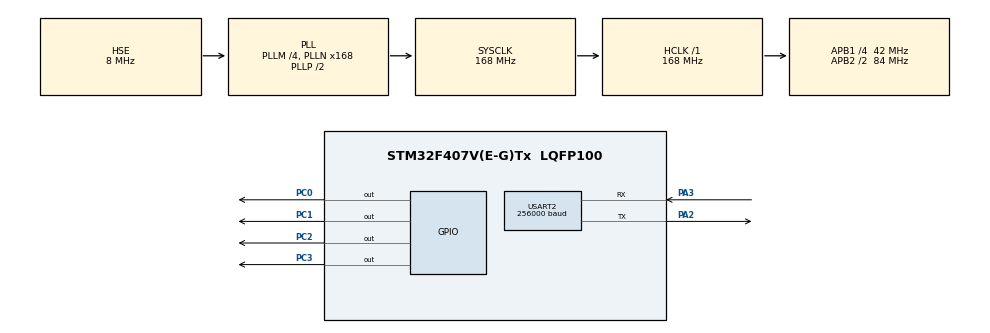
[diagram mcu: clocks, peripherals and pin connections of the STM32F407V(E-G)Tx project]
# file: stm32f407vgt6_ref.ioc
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Mcu.Family=STM32F4
Mcu.Name=STM32F407V(E-G)Tx
Mcu.Package=LQFP100
NVIC.PriorityGroup=NVIC_PRIORITYGROUP_4
PA2.Mode=Asynchronous
PA2.Signal=USART2_TX
PA3.Mode=Asynchronous
PA3.Signal=USART2_RX
PC0.Signal=GPIO_Output
PC1.Signal=GPIO_Output
PC2.Signal=GPIO_Output
PC3.Signal=GPIO_Output
PH0-OSC_IN.Mode=HSE-External-Oscillator
PH0-OSC_IN.Signal=RCC_OSC_IN
PH1-OSC_OUT.Mode=HSE-External-Oscillator
PH1-OSC_OUT.Signal=RCC_OSC_OUT
ProjectManager.HeapSize=0x4000
ProjectManager.StackSize=0x4000
ProjectManager.TargetToolchain=STM32CubeIDE
RCC.48MHZClocksFreq_Value=84000000
RCC.AHBFreq_Value=168000000
RCC.APB1CLKDivider=RCC_HCLK_DIV4
RCC.APB1Freq_Value=42000000
RCC.APB1TimFreq_Value=84000000
RCC.APB2CLKDivider=RCC_HCLK_DIV2
RCC.APB2Freq_Value=84000000
RCC.APB2TimFreq_Value=168000000
RCC.CortexFreq_Value=168000000
RCC.HCLKFreq_Value=168000000
RCC.HSE_VALUE=8000000
RCC.HSI_VALUE=16000000
RCC.LSE_VALUE=32768
RCC.PLLM=4
RCC.PLLN=168
RCC.PLLSourceVirtual=RCC_PLLSOURCE_HSE
RCC.SYSCLKFreq_VALUE=168000000
RCC.SYSCLKSource=RCC_SYSCLKSOURCE_PLLCLK
RCC.VCOOutputFreq_Value=336000000
USART2.BaudRate=256000
USART2.VirtualMode=VM_ASYNC
board=custom

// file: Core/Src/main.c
/* USER CODE BEGIN Header */
/**
  ******************************************************************************
  * @file           : main.c
  * @brief          : Main program body
  ******************************************************************************
  * @attention
  *
  * Copyright (c) 2025 STMicroelectronics.
  * All rights reserved.
  *
  * This software is licensed under terms that can be found in the LICENSE file
  * in the root directory of this software component.
  * If no LICENSE file comes with this software, it is provided AS-IS.
  *
  ******************************************************************************
  */
/* USER CODE END Header */
#include "main.h"
#include "usart.h"
#include "gpio.h"

/* USER CODE BEGIN Includes */
#include "rng.h"
#include "api.h"
#include <string.h>
/* USER CODE END Includes */

/* USER CODE BEGIN PV */
size_t mlen=0, smlen=0, mlen2=0;
uint8_t m[1024], m2[1024];
uint8_t sm[1024+PQCLEAN_MLDSA44_CLEAN_CRYPTO_BYTES];
uint8_t pk[PQCLEAN_MLDSA44_CLEAN_CRYPTO_PUBLICKEYBYTES];
uint8_t sk[PQCLEAN_MLDSA44_CLEAN_CRYPTO_SECRETKEYBYTES];
unsigned int seed = 0x12345678;
char done_flag[5] = "done\n";
int rej_num = 0;
int trigger_idx = 0;
int poly_idx = 0;
unsigned char tmp[4];
/* USER CODE END PV */

void SystemClock_Config(void);
/* USER CODE BEGIN PFP */
void cal_sign_rej_num(){
	randombytes_init(seed);
	for(int i=0;i<100;++i)
		randombytes(tmp,4);
	rej_num = 0;
	mlen = 0;
	randombytes(&mlen,4);
	mlen &= 0xff;
	randombytes(m,mlen);
	HAL_GPIO_WritePin(GPIOC, GPIO_PIN_0, GPIO_PIN_RESET);
	PQCLEAN_MLDSA44_CLEAN_crypto_sign(sm, &smlen, m, mlen, sk, -2, -2, &rej_num);
	HAL_GPIO_WritePin(GPIOC, GPIO_PIN_0, GPIO_PIN_SET);
}

void sign(){
	randombytes_init(seed);
	for(int i=0;i<100;++i)
		randombytes(tmp,4);
	mlen = 0;
	randombytes(&mlen,4);
	mlen &= 0xff;
	randombytes(m,mlen);
	PQCLEAN_MLDSA44_CLEAN_crypto_sign(sm, &smlen, m, mlen, sk, trigger_idx, poly_idx, &rej_num);
}

void test_algorithm(){
	int ret = 0;

	ret = PQCLEAN_MLDSA44_CLEAN_crypto_sign_keypair(pk, sk);
	if(ret!=0)
		HAL_UART_Transmit(&huart2,"key gen wrong\n",strlen("key gen wrong\n"),1000);
	mlen = 33;
	randombytes(m,mlen);
	ret = PQCLEAN_MLDSA44_CLEAN_crypto_sign(sm, &smlen, m, mlen, sk,-2,-2,&rej_num);
	if(ret!=0)
		HAL_UART_Transmit(&huart2,"sign wrong\n",strlen("sign wrong\n"),1000);
	ret = PQCLEAN_MLDSA44_CLEAN_crypto_sign_open(m2,&mlen2,sm,smlen,pk);
	if(ret!=0)
		HAL_UART_Transmit(&huart2,"sign open wrong\n",strlen("sign open wrong\n"),1000);
	if(mlen != mlen2)
		HAL_UART_Transmit(&huart2,"mlen2 wrong\n",strlen("mlen2 wrong\n"),1000);
	for(int i=0;i<mlen;++i){
		if(m[i]!=m2[i]){
			HAL_UART_Transmit(&huart2,"m2 wrong\n",strlen("m2 wrong\n"),1000);
			return;
		}
	}
	HAL_UART_Transmit(&huart2,"sign test success\n",strlen("sign test success\n"),1000);
}
/* USER CODE END PFP */

int main(void)
{

  /* MCU Configuration--------------------------------------------------------*/

  /* Reset of all peripherals, Initializes the Flash interface and the Systick. */
  HAL_Init();

  /* Configure the system clock */
  SystemClock_Config();

  /* Initialize all configured peripherals */
  MX_GPIO_Init();
  MX_USART2_UART_Init();
  /* USER CODE BEGIN 2 */
  HAL_GPIO_WritePin(GPIOC, GPIO_PIN_0, GPIO_PIN_SET);
	HAL_GPIO_WritePin(GPIOC, GPIO_PIN_1, GPIO_PIN_SET);
	HAL_GPIO_WritePin(GPIOC, GPIO_PIN_2, GPIO_PIN_SET);
	HAL_GPIO_WritePin(GPIOC, GPIO_PIN_3, GPIO_PIN_SET);
	unsigned char op = 0;
	randombytes_init(0x3f3f3f3f);
	for(int i=0;i<100;++i)
		randombytes(tmp,4);
	PQCLEAN_MLDSA44_CLEAN_crypto_sign_keypair(pk, sk); //fix key by fix seed
	__HAL_FLASH_PREFETCH_BUFFER_DISABLE();
	__HAL_FLASH_DATA_CACHE_DISABLE();
	__disable_irq();
  /* USER CODE END 2 */

  /* Infinite loop */
  /* USER CODE BEGIN WHILE */
  while (1)
  {
	  op=0;
	  HAL_UART_Receive(&huart2,&op,1,1000);
	  switch(op){
	  case 0x01: // get seed and return rej num
		  HAL_UART_Receive(&huart2,(unsigned char*)&seed,sizeof(unsigned int),1000);
		  cal_sign_rej_num();
		  HAL_UART_Transmit(&huart2,(unsigned char*)&rej_num,4,1000);
		  break;
	  case 0x02: //sign message
		  HAL_UART_Receive(&huart2,(unsigned char*)&seed,sizeof(unsigned int),1000);
		  HAL_UART_Receive(&huart2,(unsigned char*)&trigger_idx,sizeof(int),1000);
		  HAL_UART_Receive(&huart2,(unsigned char*)&poly_idx,sizeof(int),1000);
		  sign();
		  HAL_UART_Transmit(&huart2,(unsigned char*)done_flag,strlen(done_flag),1000);
		  break;
	  case 0x03: // gen key
			randombytes_init(0x3f3f3f3f);
			for(int i=0;i<100;++i)
				randombytes(tmp,4);
			PQCLEAN_MLDSA44_CLEAN_crypto_sign_keypair(pk, sk); //fix key by fix seed
	  case 0x05:
		  test_algorithm();
	  default:
		  op = 0;
		  trigger_idx = 0;
	  }
    /* USER CODE END WHILE */

  }
}

void SystemClock_Config(void)
{
  RCC_OscInitTypeDef RCC_OscInitStruct = {0};
  RCC_ClkInitTypeDef RCC_ClkInitStruct = {0};

  /** Configure the main internal regulator output voltage
  */
  __HAL_RCC_PWR_CLK_ENABLE();
  __HAL_PWR_VOLTAGESCALING_CONFIG(PWR_REGULATOR_VOLTAGE_SCALE1);

  /** Initializes the RCC Oscillators according to the specified parameters
  * in the RCC_OscInitTypeDef structure.
  */
  RCC_OscInitStruct.OscillatorType = RCC_OSCILLATORTYPE_HSE;
  RCC_OscInitStruct.HSEState = RCC_HSE_ON;
  RCC_OscInitStruct.PLL.PLLState = RCC_PLL_ON;
  RCC_OscInitStruct.PLL.PLLSource = RCC_PLLSOURCE_HSE;
  RCC_OscInitStruct.PLL.PLLM = 4;
  RCC_OscInitStruct.PLL.PLLN = 168;
  RCC_OscInitStruct.PLL.PLLP = RCC_PLLP_DIV2;
  RCC_OscInitStruct.PLL.PLLQ = 4;
  if (HAL_RCC_OscConfig(&RCC_OscInitStruct) != HAL_OK)
  {
    Error_Handler();
  }

  /** Initializes the CPU, AHB and APB buses clocks
  */
  RCC_ClkInitStruct.ClockType = RCC_CLOCKTYPE_HCLK|RCC_CLOCKTYPE_SYSCLK
                              |RCC_CLOCKTYPE_PCLK1|RCC_CLOCKTYPE_PCLK2;
  RCC_ClkInitStruct.SYSCLKSource = RCC_SYSCLKSOURCE_PLLCLK;
  RCC_ClkInitStruct.AHBCLKDivider = RCC_SYSCLK_DIV1;
  RCC_ClkInitStruct.APB1CLKDivider = RCC_HCLK_DIV4;
  RCC_ClkInitStruct.APB2CLKDivider = RCC_HCLK_DIV2;

  if (HAL_RCC_ClockConfig(&RCC_ClkInitStruct, FLASH_LATENCY_5) != HAL_OK)
  {
    Error_Handler();
  }
}

void Error_Handler(void)
{
  __disable_irq();
  while (1)
  {
  }
}
